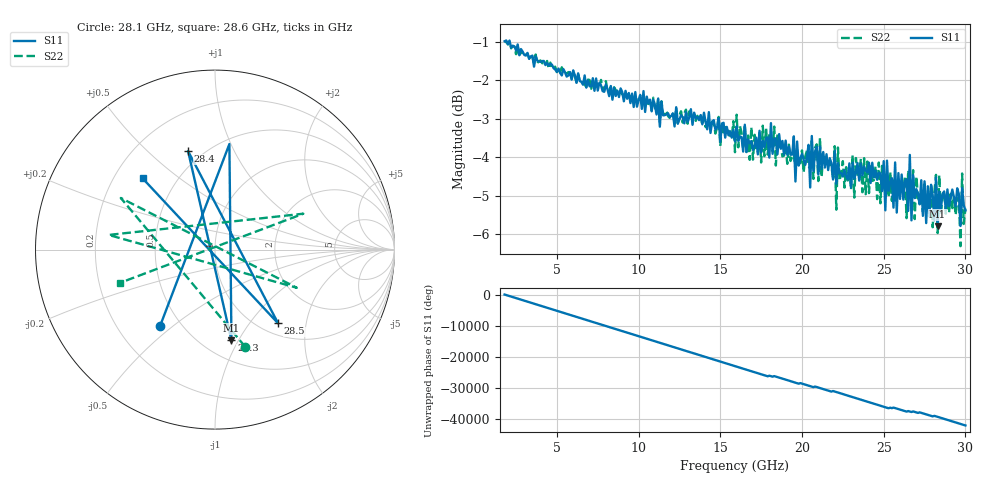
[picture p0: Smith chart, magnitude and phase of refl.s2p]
! Created Wed Feb 12 10:44:21 2025
# hz S ma R 50
! 2 Port Network Data from SP1.SP block
! freq  magS11  angS11  magS21  angS21  magS12  angS12  magS22  angS22
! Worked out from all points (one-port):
!   283 points, 1.8 GHz to 30 GHz, reference 50 ohm
!   lowest |S11| = -5.8 dB at 28.3 GHz (marker M1), VSWR 3.11, Z = 34.1 - j46.8 ohm
!   |S11| at or under -10 dB: nowhere
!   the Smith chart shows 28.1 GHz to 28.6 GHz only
!   S11 on the Smith chart (normalised r, x): 28.1 GHz: 0.39, -0.45; 28.3 GHz: 0.68, -0.94; 28.4 GHz: 0.42, +0.68; 28.5 GHz: 1.20, -1.39; 28.6 GHz: 0.32, +0.37
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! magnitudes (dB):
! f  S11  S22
! 1.8 GHz  -1.0  -1.0
! 6.5 GHz  -2.0  -2.1
! 11.2 GHz  -2.5  -2.5
! 15.9 GHz  -3.6  -3.9
! 20.5 GHz  -4.8  -4.3
! 20.6 GHz  -3.4  -3.6
! 22 GHz  -3.8  -3.7
! 22.1 GHz  -4.7  -5.4
! 22.2 GHz  -4.2  -3.7
! 25.3 GHz  -4.9  -5.0
! 26.4 GHz  -4.6  -5.6
! 26.5 GHz  -5.4  -4.3
! 26.6 GHz  -3.9  -4.8
! 26.7 GHz  -5.6  -5.2
! 26.8 GHz  -4.5  -4.3
! 28.1 GHz  -5.6  -4.9
! 28.2 GHz  -4.5  -4.5
! 28.3 GHz  -5.8  -6.0
! 28.4 GHz  -4.9  -4.5
! 28.5 GHz  -5.3  -5.5
! 28.6 GHz  -5.0  -5.0
! 30 GHz  -5.4  -5.3
